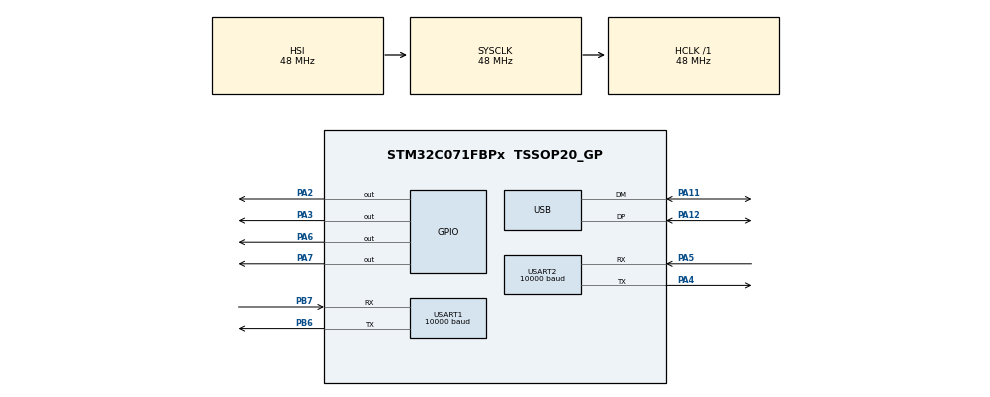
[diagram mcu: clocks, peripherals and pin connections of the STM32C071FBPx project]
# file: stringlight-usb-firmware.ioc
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Mcu.Family=STM32C0
Mcu.Name=STM32C071FBPx
Mcu.Package=TSSOP20_GP
NVIC.TIM1_BRK_UP_TRG_COM_IRQn=true\:3\:0\:false\:false\:true\:false\:true\:true
NVIC.TimeBase=TIM1_BRK_UP_TRG_COM_IRQn
NVIC.TimeBaseIP=TIM1
NVIC.USB_DRD_FS_IRQn=true\:0\:0\:false\:false\:true\:true\:true\:true
PA11\ [PA9].Mode=Device
PA11\ [PA9].Signal=USB_DM
PA12\ [PA10].Mode=Device
PA12\ [PA10].Signal=USB_DP
PA14-BOOT0__PA15.StandardMode=true
PA2.Signal=GPIO_Output
PA3.Signal=GPIO_Output
PA4.Mode=Asynchronous
PA4.Signal=USART2_TX
PA5.Mode=Asynchronous
PA5.Signal=USART2_RX
PA6.Signal=GPIO_Output
PA7.Signal=GPIO_Output
PB3__PB4__PB5__PB6.StandardMode=true
PB6.Mode=Asynchronous
PB6.Signal=USART1_TX
PB7.Mode=Asynchronous
PB7.Signal=USART1_RX
PB7__PB8.StandardMode=true
ProjectManager.HeapSize=0x200
ProjectManager.StackSize=0x400
ProjectManager.TargetToolchain=STM32CubeIDE
RCC.ADCFreq_Value=48000000
RCC.AHBFreq_Value=48000000
RCC.CortexFreq_Value=48000000
RCC.EXTERNAL_CLOCK_VALUE=12288000
RCC.HCLKFreq_Value=48000000
RCC.HSE_VALUE=8000000
RCC.HSI48_VALUE=48000000
RCC.HSISYSCLKDivider=RCC_HSI_DIV1
RCC.HSI_VALUE=48000000
RCC.LSE_VALUE=32768
RCC.SYSCLKFreq_VALUE=48000000
USART1.BaudRate=10000
USART1.VirtualMode-Asynchronous=VM_ASYNC
USART2.BaudRate=10000
USART2.VirtualMode-Asynchronous=VM_ASYNC
USB.VirtualMode=Device_Only
USBX.BSP.number=1
USBX.Core_System=1
USBX.USBD_HID_CUSTOM_EPIN_FS_MPS=64
USBX.USBD_HID_CUSTOM_EPIN_HS_MPS=64
USBX.USBD_HID_CUSTOM_EPOUT_FS_MPS=64
USBX.USBD_HID_CUSTOM_EPOUT_HS_MPS=64
USBX.USBD_PID=22289
USBX.USBX_DEVICE_SYS_SIZE=8192
USBX.UX_DEVICE_APP_MEM_POOL_SIZE_STANDALONE=8192
USBX.UX_DEVICE_CLASS_HID_INTERRUPT_OUT_SUPPORT=1
USBX.UX_DEVICE_HID_CORE=1
USBX.UX_DEVICE_HID_CUSTOM=1
USBX.UX_Device_Controller=1
USBX.UX_Device_CoreStack=1
USBX0.BSP.STBoard=false
USBX0.BSP.api=Unknown
USBX0.BSP.instance=USB
USBX0.BSP.ip=USB
USBX0.BSP.mode=Device_Only
USBX0.BSP.name=USB_Device
USBX0.BSP.solution=USB
VP_RCC_USB.Mode=CRS SYNC Source USB
VP_SYS_VS_tim1.Mode=TIM1
VP_USBX_Core_System.Mode=Core_System
VP_USBX_UX\ Device\ Controller_FS.Mode=UX_Device_Controller_FS
VP_USBX_UX\ Device\ CoreStack_FS.Mode=UX_Device_CoreStack_FS
VP_USBX_UX\ Device\ HID_CORE_FS.Mode=UX_Device_class_HID_CORE_FS
VP_USBX_UX\ Device\ HID_CUSTOM_FS.Mode=UX_Device_class_HID_CUSTOM_FS
board=custom

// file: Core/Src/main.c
/* USER CODE BEGIN Header */
/**
  ******************************************************************************
  * @file           : main.c
  * @brief          : Main program body
  ******************************************************************************
  * @attention
  *
  * Copyright (c) 2026 STMicroelectronics.
  * All rights reserved.
  *
  * This software is licensed under terms that can be found in the LICENSE file
  * in the root directory of this software component.
  * If no LICENSE file comes with this software, it is provided AS-IS.
  *
  ******************************************************************************
  */
/* USER CODE END Header */
#include "main.h"
#include "app_usbx_device.h"

/* USER CODE BEGIN Includes */
#include "verified_uart.h"
#include "status_leds.h"
/* USER CODE END Includes */

UART_HandleTypeDef huart1;
UART_HandleTypeDef huart2;

PCD_HandleTypeDef hpcd_USB_DRD_FS;

/* USER CODE BEGIN PV */
VerifiedUart g_uart2;
/* USER CODE END PV */

void SystemClock_Config(void);
static void MX_GPIO_Init(void);
static void MX_USART1_UART_Init(void);
static void MX_USART2_UART_Init(void);
static void MX_USB_PCD_Init(void);

int main(void)
{

  /* MCU Configuration--------------------------------------------------------*/

  /* Reset of all peripherals, Initializes the Flash interface and the Systick. */
  HAL_Init();

  /* Configure the system clock */
  SystemClock_Config();

  /* USER CODE BEGIN SysInit */
  /* CRS Bekapcsolása - Javított verzió STM32C0-hoz */
  __HAL_RCC_CRS_CLK_ENABLE();

  /* A C0-nál a CRS nem az RCC része, hanem külön periféria: CRS->... */
  CRS->CR |= CRS_CR_AUTOTRIMEN; // Automatikus hangolás bekapcsolása
  CRS->CR |= CRS_CR_CEN;        // CRS számláló indítása
  /* USER CODE END SysInit */

  /* Initialize all configured peripherals */
  MX_GPIO_Init();
  MX_USART1_UART_Init();
  MX_USART2_UART_Init();
  //MX_USB_PCD_Init();
  MX_USBX_Device_Init();
  /* USER CODE BEGIN 2 */
  MX_USB_PCD_Init();
  HAL_PCD_DevConnect(&hpcd_USB_DRD_FS); // Ez rántja meg a vonalat a PC-nek
  VerifiedUart_Init(&g_uart2, &huart2);
  VerifiedUart_Start(&g_uart2);
  StatusLeds_Init();
  /* USER CODE END 2 */

  /* Infinite loop */
  /* USER CODE BEGIN WHILE */
  while (1)
  {
	  ux_device_stack_tasks_run();
	  VerifiedUart_Process(&g_uart2);
	  if (VerifiedUart_ConsumeFrameDropEvent(&g_uart2)) {
		  StatusLeds_PulseRed(1000U);
	  }
	  StatusLeds_Update(false, VerifiedUart_IsFault(&g_uart2));
    /* USER CODE END WHILE */

  }
}

void SystemClock_Config(void)
{
  RCC_OscInitTypeDef RCC_OscInitStruct = {0};
  RCC_ClkInitTypeDef RCC_ClkInitStruct = {0};
  RCC_CRSInitTypeDef RCC_CRSInitStruct = {0};

  __HAL_FLASH_SET_LATENCY(FLASH_LATENCY_1);

  /** Initializes the RCC Oscillators according to the specified parameters
  * in the RCC_OscInitTypeDef structure.
  */
  RCC_OscInitStruct.OscillatorType = RCC_OSCILLATORTYPE_HSI|RCC_OSCILLATORTYPE_HSI48;
  RCC_OscInitStruct.HSIState = RCC_HSI_ON;
  RCC_OscInitStruct.HSIDiv = RCC_HSI_DIV1;
  RCC_OscInitStruct.HSICalibrationValue = RCC_HSICALIBRATION_DEFAULT;
  RCC_OscInitStruct.HSI48State = RCC_HSI48_ON;

  if (HAL_RCC_OscConfig(&RCC_OscInitStruct) != HAL_OK)
  {
    Error_Handler();
  }

  /** Initializes the CPU, AHB and APB buses clocks
  */
  RCC_ClkInitStruct.ClockType = RCC_CLOCKTYPE_HCLK|RCC_CLOCKTYPE_SYSCLK
                              |RCC_CLOCKTYPE_PCLK1;
  RCC_ClkInitStruct.SYSCLKSource = RCC_SYSCLKSOURCE_HSI;
  RCC_ClkInitStruct.SYSCLKDivider = RCC_SYSCLK_DIV1;
  RCC_ClkInitStruct.AHBCLKDivider = RCC_HCLK_DIV1;
  RCC_ClkInitStruct.APB1CLKDivider = RCC_APB1_DIV1;

  if (HAL_RCC_ClockConfig(&RCC_ClkInitStruct, FLASH_LATENCY_1) != HAL_OK)
  {
    Error_Handler();
  }

  /** Enable the CRS APB clock
  */
  __HAL_RCC_CRS_CLK_ENABLE();

  /** Configures CRS
  */
  RCC_CRSInitStruct.Prescaler = RCC_CRS_SYNC_DIV1;
  RCC_CRSInitStruct.Source = RCC_CRS_SYNC_SOURCE_USB;
  RCC_CRSInitStruct.Polarity = RCC_CRS_SYNC_POLARITY_RISING;
  RCC_CRSInitStruct.ReloadValue = __HAL_RCC_CRS_RELOADVALUE_CALCULATE(48000000,1000);
  RCC_CRSInitStruct.ErrorLimitValue = 34;
  RCC_CRSInitStruct.HSI48CalibrationValue = 32;

  HAL_RCCEx_CRSConfig(&RCC_CRSInitStruct);
}

static void MX_USART1_UART_Init(void)
{

  huart1.Instance = USART1;
  huart1.Init.BaudRate = 10000;
  huart1.Init.WordLength = UART_WORDLENGTH_8B;
  huart1.Init.StopBits = UART_STOPBITS_1;
  huart1.Init.Parity = UART_PARITY_NONE;
  huart1.Init.Mode = UART_MODE_TX_RX;
  huart1.Init.HwFlowCtl = UART_HWCONTROL_NONE;
  huart1.Init.OverSampling = UART_OVERSAMPLING_16;
  huart1.Init.OneBitSampling = UART_ONE_BIT_SAMPLE_DISABLE;
  huart1.Init.ClockPrescaler = UART_PRESCALER_DIV1;
  huart1.AdvancedInit.AdvFeatureInit = UART_ADVFEATURE_NO_INIT;
  if (HAL_UART_Init(&huart1) != HAL_OK)
  {
    Error_Handler();
  }
  if (HAL_UARTEx_SetTxFifoThreshold(&huart1, UART_TXFIFO_THRESHOLD_1_8) != HAL_OK)
  {
    Error_Handler();
  }
  if (HAL_UARTEx_SetRxFifoThreshold(&huart1, UART_RXFIFO_THRESHOLD_1_8) != HAL_OK)
  {
    Error_Handler();
  }
  if (HAL_UARTEx_DisableFifoMode(&huart1) != HAL_OK)
  {
    Error_Handler();
  }

}

static void MX_USART2_UART_Init(void)
{

  huart2.Instance = USART2;
  huart2.Init.BaudRate = 10000;
  huart2.Init.WordLength = UART_WORDLENGTH_8B;
  huart2.Init.StopBits = UART_STOPBITS_1;
  huart2.Init.Parity = UART_PARITY_NONE;
  huart2.Init.Mode = UART_MODE_TX_RX;
  huart2.Init.HwFlowCtl = UART_HWCONTROL_NONE;
  huart2.Init.OverSampling = UART_OVERSAMPLING_16;
  huart2.Init.OneBitSampling = UART_ONE_BIT_SAMPLE_DISABLE;
  huart2.Init.ClockPrescaler = UART_PRESCALER_DIV1;
  huart2.AdvancedInit.AdvFeatureInit = UART_ADVFEATURE_NO_INIT;
  if (HAL_UART_Init(&huart2) != HAL_OK)
  {
    Error_Handler();
  }

}

static void MX_USB_PCD_Init(void)
{

  hpcd_USB_DRD_FS.Instance = USB_DRD_FS;
  hpcd_USB_DRD_FS.Init.dev_endpoints = 8;
  hpcd_USB_DRD_FS.Init.speed = USBD_FS_SPEED;
  hpcd_USB_DRD_FS.Init.phy_itface = PCD_PHY_EMBEDDED;
  hpcd_USB_DRD_FS.Init.Sof_enable = DISABLE;
  hpcd_USB_DRD_FS.Init.low_power_enable = DISABLE;
  hpcd_USB_DRD_FS.Init.lpm_enable = DISABLE;
  hpcd_USB_DRD_FS.Init.battery_charging_enable = DISABLE;
  hpcd_USB_DRD_FS.Init.vbus_sensing_enable = DISABLE;
  hpcd_USB_DRD_FS.Init.bulk_doublebuffer_enable = DISABLE;
  hpcd_USB_DRD_FS.Init.iso_singlebuffer_enable = DISABLE;
  if (HAL_PCD_Init(&hpcd_USB_DRD_FS) != HAL_OK)
  {
    Error_Handler();
  }
  /* USER CODE BEGIN USB_Init 2 */
  HAL_PCDEx_PMAConfig(&hpcd_USB_DRD_FS, 0x00, PCD_SNG_BUF, 0x40);
  HAL_PCDEx_PMAConfig(&hpcd_USB_DRD_FS, 0x80, PCD_SNG_BUF, 0x80);
  HAL_PCDEx_PMAConfig(&hpcd_USB_DRD_FS, 0x01, PCD_SNG_BUF, 0xC0);
  HAL_PCDEx_PMAConfig(&hpcd_USB_DRD_FS, 0x81, PCD_SNG_BUF, 0x100);

  _ux_dcd_stm32_initialize((ULONG)NULL, (ULONG)&hpcd_USB_DRD_FS);
  HAL_PCD_Start(&hpcd_USB_DRD_FS);
  /* USER CODE END USB_Init 2 */

}

static void MX_GPIO_Init(void)
{
  GPIO_InitTypeDef GPIO_InitStruct = {0};

  /* GPIO Ports Clock Enable */
  __HAL_RCC_GPIOB_CLK_ENABLE();
  __HAL_RCC_GPIOC_CLK_ENABLE();
  __HAL_RCC_GPIOF_CLK_ENABLE();
  __HAL_RCC_GPIOA_CLK_ENABLE();

  /*Configure GPIO pin Output Level */
  HAL_GPIO_WritePin(GPIOA, GPIO_PIN_2|GPIO_PIN_3|GPIO_PIN_6|GPIO_PIN_7, GPIO_PIN_RESET);

  /*Configure GPIO pins : PB8 PB3 PB4 PB5 */
  GPIO_InitStruct.Pin = GPIO_PIN_8|GPIO_PIN_3|GPIO_PIN_4|GPIO_PIN_5;
  GPIO_InitStruct.Mode = GPIO_MODE_ANALOG;
  GPIO_InitStruct.Pull = GPIO_NOPULL;
  HAL_GPIO_Init(GPIOB, &GPIO_InitStruct);

  /*Configure GPIO pins : PC14 PC15 */
  GPIO_InitStruct.Pin = GPIO_PIN_14|GPIO_PIN_15;
  GPIO_InitStruct.Mode = GPIO_MODE_ANALOG;
  GPIO_InitStruct.Pull = GPIO_NOPULL;
  HAL_GPIO_Init(GPIOC, &GPIO_InitStruct);

  /*Configure GPIO pin : PF2 */
  GPIO_InitStruct.Pin = GPIO_PIN_2;
  GPIO_InitStruct.Mode = GPIO_MODE_ANALOG;
  GPIO_InitStruct.Pull = GPIO_NOPULL;
  HAL_GPIO_Init(GPIOF, &GPIO_InitStruct);

  /*Configure GPIO pins : PA0 PA1 PA8 PA13
                           PA14 PA15 */
  GPIO_InitStruct.Pin = GPIO_PIN_0|GPIO_PIN_1|GPIO_PIN_8|GPIO_PIN_13
                          |GPIO_PIN_14|GPIO_PIN_15;
  GPIO_InitStruct.Mode = GPIO_MODE_ANALOG;
  GPIO_InitStruct.Pull = GPIO_NOPULL;
  HAL_GPIO_Init(GPIOA, &GPIO_InitStruct);

  /*Configure GPIO pins : PA2 PA3 PA6 PA7 */
  GPIO_InitStruct.Pin = GPIO_PIN_2|GPIO_PIN_3|GPIO_PIN_6|GPIO_PIN_7;
  GPIO_InitStruct.Mode = GPIO_MODE_OUTPUT_PP;
  GPIO_InitStruct.Pull = GPIO_NOPULL;
  GPIO_InitStruct.Speed = GPIO_SPEED_FREQ_LOW;
  HAL_GPIO_Init(GPIOA, &GPIO_InitStruct);

}

void HAL_TIM_PeriodElapsedCallback(TIM_HandleTypeDef *htim)
{
  if (htim->Instance == TIM1)
  {
    HAL_IncTick();
  }
}

void Error_Handler(void)
{
  __disable_irq();
  while (1)
  {
  }
}
